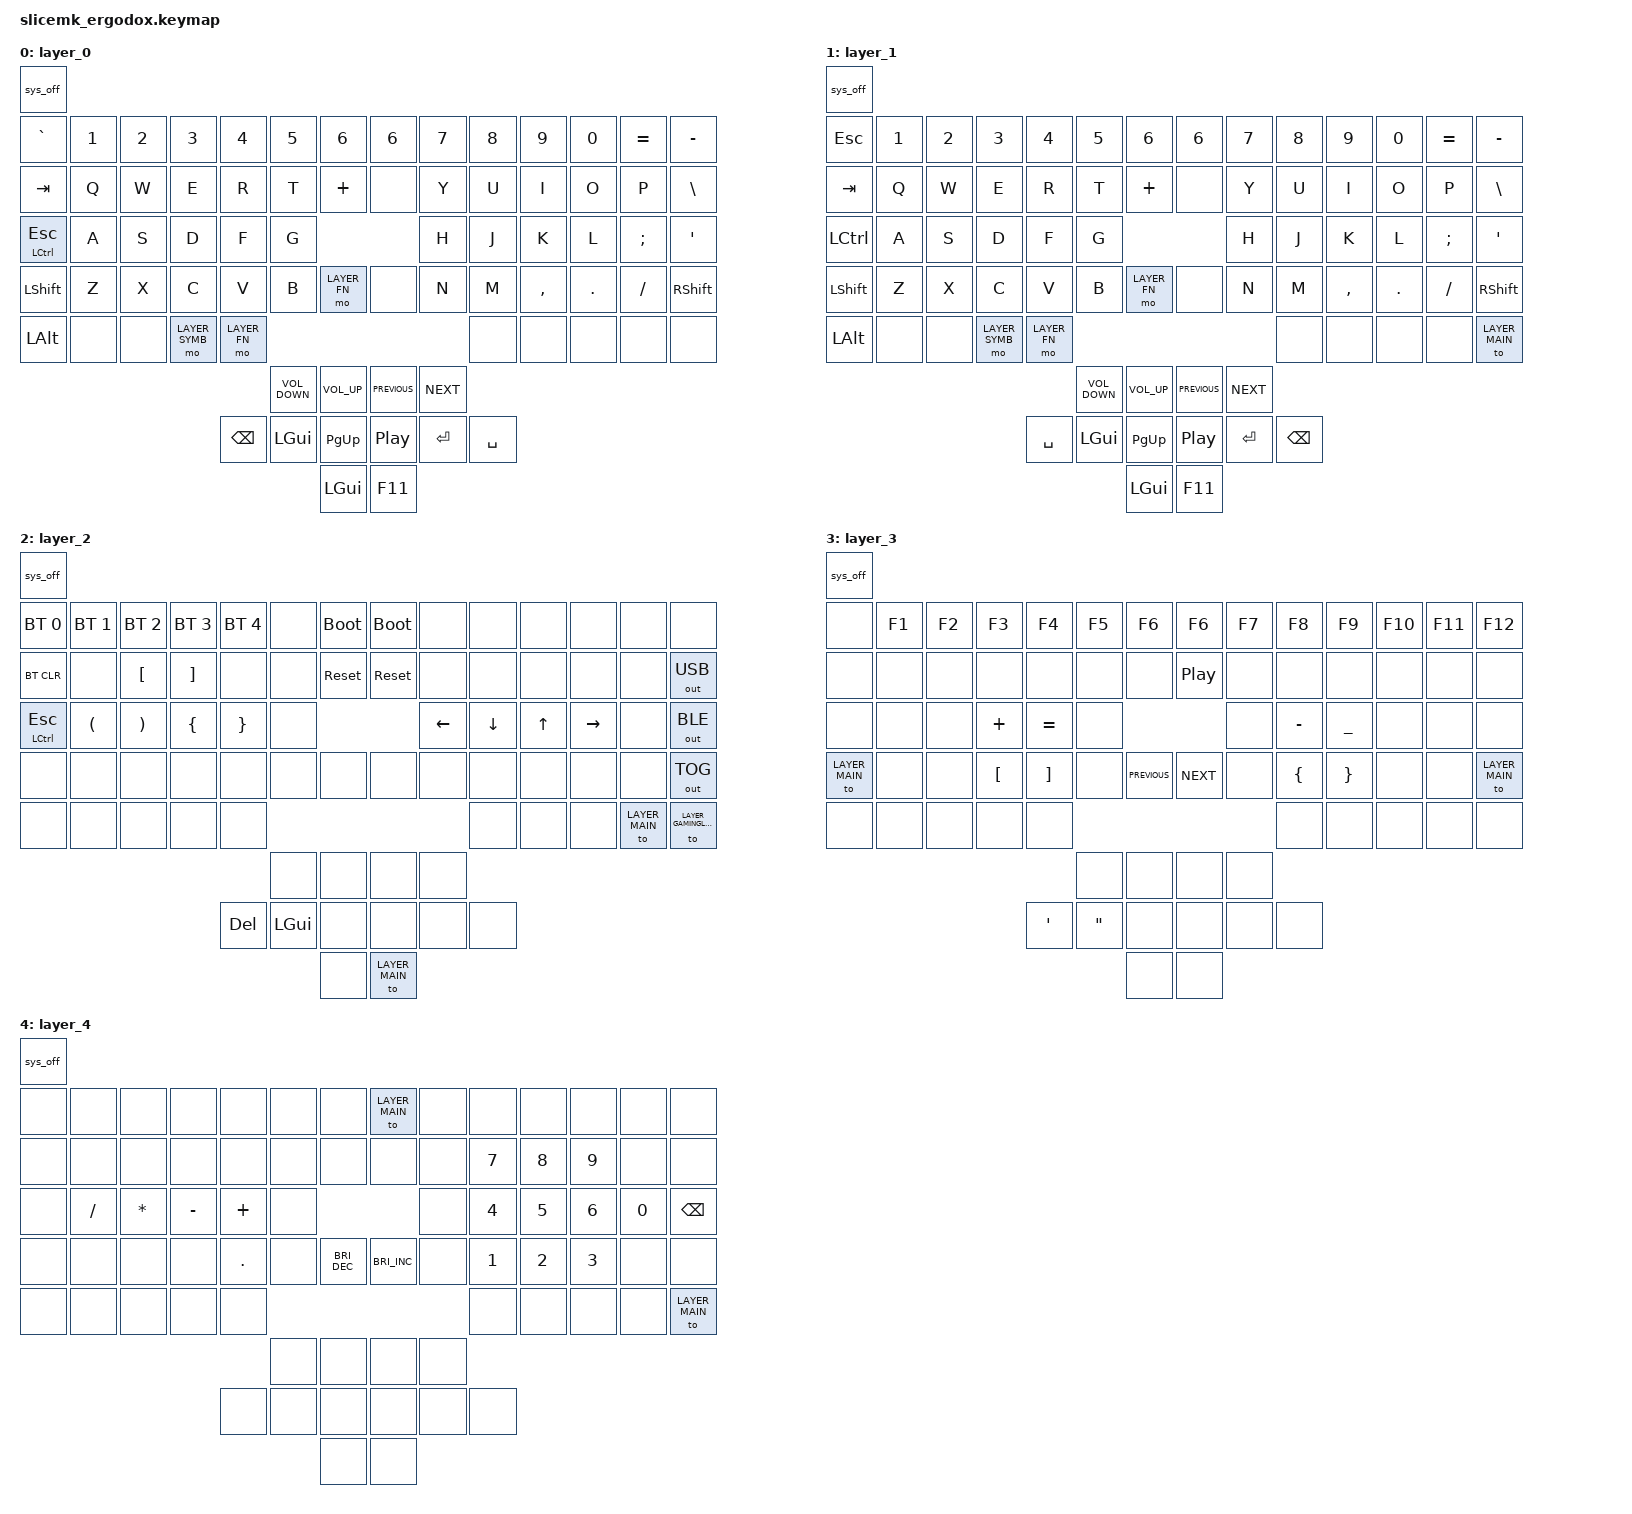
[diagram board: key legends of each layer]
#define LAYER_MAIN 0
#define LAYER_GAMINGLAYER 1
#define LAYER_FN 2
#define LAYER_SYMB 3
#define LAYER_NMPAD 4

#include <behaviors.dtsi>
#include <dt-bindings/zmk/bt.h>
#include <dt-bindings/zmk/keys.h>
#include <dt-bindings/zmk/mouse.h>
#include <dt-bindings/zmk/outputs.h>
#include <dt-bindings/zmk/rgb.h>

/ {
	keymap {
		compatible = "zmk,keymap";
		layer_0 {
			bindings = <
				&sys_off
				&kp GRAVE               &kp NUMBER_1 &kp NUMBER_2 &kp NUMBER_3   &kp NUMBER_4  &kp NUMBER_5      &kp NUMBER_6    &kp NUMBER_6     &kp NUMBER_7 &kp NUMBER_8 &kp NUMBER_9 &kp NUMBER_0 &kp EQUAL     &kp MINUS
				&kp TAB                 &kp Q        &kp W        &kp E          &kp R         &kp T             &kp PLUS        &none            &kp Y        &kp U        &kp I        &kp O        &kp P         &kp BACKSLASH
				&mt LEFT_CONTROL ESCAPE &kp A        &kp S        &kp D          &kp F         &kp G                                              &kp H        &kp J        &kp K        &kp L        &kp SEMICOLON &kp SINGLE_QUOTE
				&kp LEFT_SHIFT          &kp Z        &kp X        &kp C          &kp V         &kp B             &mo LAYER_FN    &none            &kp N        &kp M        &kp COMMA    &kp PERIOD   &kp SLASH     &kp RIGHT_SHIFT
				&kp LEFT_ALT            &none        &none        &mo LAYER_SYMB &mo LAYER_FN                                                                  &none        &none        &none        &none         &none
				                                                                               &kp C_VOLUME_DOWN &kp C_VOLUME_UP &kp C_PREVIOUS   &kp C_NEXT
				                                                                 &kp BACKSPACE &kp LEFT_GUI      &kp PAGE_UP     &kp C_PLAY_PAUSE &kp RETURN   &kp SPACE
				                                                                                                 &kp LEFT_GUI    &kp F11
			>;
		};
		layer_1 {
			bindings = <
				&sys_off
				&kp ESCAPE       &kp NUMBER_1 &kp NUMBER_2 &kp NUMBER_3   &kp NUMBER_4 &kp NUMBER_5      &kp NUMBER_6    &kp NUMBER_6     &kp NUMBER_7 &kp NUMBER_8  &kp NUMBER_9 &kp NUMBER_0 &kp EQUAL     &kp MINUS
				&kp TAB          &kp Q        &kp W        &kp E          &kp R        &kp T             &kp PLUS        &none            &kp Y        &kp U         &kp I        &kp O        &kp P         &kp BACKSLASH
				&kp LEFT_CONTROL &kp A        &kp S        &kp D          &kp F        &kp G                                              &kp H        &kp J         &kp K        &kp L        &kp SEMICOLON &kp SINGLE_QUOTE
				&kp LEFT_SHIFT   &kp Z        &kp X        &kp C          &kp V        &kp B             &mo LAYER_FN    &none            &kp N        &kp M         &kp COMMA    &kp PERIOD   &kp SLASH     &kp RIGHT_SHIFT
				&kp LEFT_ALT     &none        &none        &mo LAYER_SYMB &mo LAYER_FN                                                                 &none         &none        &none        &none         &to LAYER_MAIN
				                                                                       &kp C_VOLUME_DOWN &kp C_VOLUME_UP &kp C_PREVIOUS   &kp C_NEXT
				                                                          &kp SPACE    &kp LEFT_GUI      &kp PAGE_UP     &kp C_PLAY_PAUSE &kp RETURN   &kp BACKSPACE
				                                                                                         &kp LEFT_GUI    &kp F11
			>;
		};
		layer_2 {
			bindings = <
				&sys_off
				&bt BT_SEL 0            &bt BT_SEL 1         &bt BT_SEL 2          &bt BT_SEL 3      &bt BT_SEL 4    &none        &bootloader &bootloader    &none          &none          &none        &none           &none          &none
				&bt BT_CLR              &none                &kp LEFT_BRACKET      &kp RIGHT_BRACKET &none           &none        &sys_reset  &sys_reset     &none          &none          &none        &none           &none          &out OUT_USB
				&mt LEFT_CONTROL ESCAPE &kp LEFT_PARENTHESIS &kp RIGHT_PARENTHESIS &kp LEFT_BRACE    &kp RIGHT_BRACE &none                                   &kp LEFT_ARROW &kp DOWN_ARROW &kp UP_ARROW &kp RIGHT_ARROW &none          &out OUT_BLE
				&none                   &none                &none                 &none             &none           &none        &none       &none          &none          &none          &none        &none           &none          &out OUT_TOG
				&none                   &none                &none                 &none             &none                                                                  &none          &none        &none           &to LAYER_MAIN &to LAYER_GAMINGLAYER
				                                                                                                     &none        &none       &none          &none
				                                                                                     &kp DELETE      &kp LEFT_GUI &none       &none          &none          &none
				                                                                                                                  &none       &to LAYER_MAIN
			>;
		};
		layer_3 {
			bindings = <
				&sys_off
				&none          &kp F1 &kp F2 &kp F3           &kp F4            &kp F5            &kp F6         &kp F6           &kp F7 &kp F8         &kp F9          &kp F10 &kp F11 &kp F12
				&none          &none  &none  &none            &none             &none             &none          &kp C_PLAY_PAUSE &none  &none          &none           &none   &none   &none
				&none          &none  &none  &kp PLUS         &kp EQUAL         &none                                             &none  &kp MINUS      &kp UNDERSCORE  &none   &none   &none
				&to LAYER_MAIN &none  &none  &kp LEFT_BRACKET &kp RIGHT_BRACKET &none             &kp C_PREVIOUS &kp C_NEXT       &none  &kp LEFT_BRACE &kp RIGHT_BRACE &none   &none   &to LAYER_MAIN
				&none          &none  &none  &none            &none                                                                      &none          &none           &none   &none   &none
				                                                                &none             &none          &none            &none
				                                              &kp SINGLE_QUOTE  &kp DOUBLE_QUOTES &none          &none            &none  &none
				                                                                                  &none          &none
			>;
		};
		layer_4 {
			bindings = <
				&sys_off
				&none &none     &none        &none     &none      &none &none                &to LAYER_MAIN       &none &none        &none        &none        &none        &none
				&none &none     &none        &none     &none      &none &none                &none                &none &kp NUMBER_7 &kp NUMBER_8 &kp NUMBER_9 &none        &none
				&none &kp SLASH &kp ASTERISK &kp MINUS &kp PLUS   &none                                           &none &kp NUMBER_4 &kp NUMBER_5 &kp NUMBER_6 &kp NUMBER_0 &kp BACKSPACE
				&none &none     &none        &none     &kp PERIOD &none &kp C_BRIGHTNESS_DEC &kp C_BRIGHTNESS_INC &none &kp NUMBER_1 &kp NUMBER_2 &kp NUMBER_3 &none        &none
				&none &none     &none        &none     &none                                                            &none        &none        &none        &none        &to LAYER_MAIN
				                                                  &none &none                &none                &none
				                                       &none      &none &none                &none                &none &none
				                                                        &none                &none
			>;
		};
	};
};
